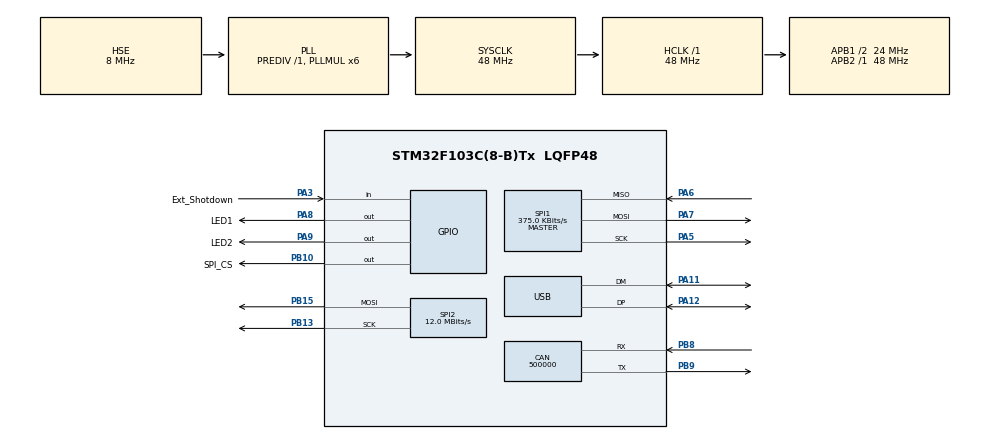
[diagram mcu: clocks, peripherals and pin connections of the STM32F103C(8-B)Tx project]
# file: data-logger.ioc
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CAN.CalculateBaudRate=500000
CAN.CalculateTimeBit=2000
CAN.CalculateTimeQuantum=666.6666666666666
Dma.Request0=SPI2_TX
Dma.SPI2_TX.0.Direction=DMA_MEMORY_TO_PERIPH
Dma.SPI2_TX.0.Instance=DMA1_Channel5
Dma.SPI2_TX.0.MemDataAlignment=DMA_MDATAALIGN_BYTE
Dma.SPI2_TX.0.MemInc=DMA_MINC_ENABLE
Dma.SPI2_TX.0.Mode=DMA_NORMAL
Dma.SPI2_TX.0.PeriphDataAlignment=DMA_PDATAALIGN_BYTE
Dma.SPI2_TX.0.PeriphInc=DMA_PINC_DISABLE
Dma.SPI2_TX.0.Priority=DMA_PRIORITY_LOW
FATFS._USE_LFN=1
Mcu.Family=STM32F1
Mcu.Name=STM32F103C(8-B)Tx
Mcu.Package=LQFP48
NVIC.CAN1_RX1_IRQn=true\:0\:0\:false\:false\:true\:true\:true\:true
NVIC.DMA1_Channel5_IRQn=true\:0\:0\:false\:false\:true\:false\:true\:true
NVIC.PriorityGroup=NVIC_PRIORITYGROUP_4
NVIC.SPI1_IRQn=true\:0\:0\:false\:false\:true\:true\:true\:true
NVIC.TIM1_UP_IRQn=true\:15\:0\:false\:false\:true\:false\:true\:true
NVIC.TimeBase=TIM1_UP_IRQn
NVIC.TimeBaseIP=TIM1
NVIC.USB_LP_CAN1_RX0_IRQn=true\:0\:0\:false\:false\:true\:true\:true\:true
PA11.Mode=Device
PA11.Signal=USB_DM
PA12.Mode=Device
PA12.Signal=USB_DP
PA13.Mode=Serial_Wire
PA13.Signal=SYS_JTMS-SWDIO
PA14.Mode=Serial_Wire
PA14.Signal=SYS_JTCK-SWCLK
PA3.GPIO_Label=Ext_Shotdown
PA3.Signal=GPIO_Input
PA5.Mode=Full_Duplex_Master
PA5.Signal=SPI1_SCK
PA6.Mode=Full_Duplex_Master
PA6.Signal=SPI1_MISO
PA7.Mode=Full_Duplex_Master
PA7.Signal=SPI1_MOSI
PA8.GPIO_Label=LED1
PA8.Signal=GPIO_Output
PA9.GPIO_Label=LED2
PA9.Signal=GPIO_Output
PB10.GPIO_Label=SPI_CS
PB10.PinState=GPIO_PIN_SET
PB10.Signal=GPIO_Output
PB13.Mode=TX_Only_Simplex_Unidirect_Master
PB13.Signal=SPI2_SCK
PB15.Mode=TX_Only_Simplex_Unidirect_Master
PB15.Signal=SPI2_MOSI
PB8.Mode=CAN_Activate
PB8.Signal=CAN_RX
PB9.Mode=CAN_Activate
PB9.Signal=CAN_TX
PC14-OSC32_IN.Signal=RCC_OSC32_IN
PC15-OSC32_OUT.Signal=RCC_OSC32_OUT
PD0-OSC_IN.Mode=HSE-External-Oscillator
PD0-OSC_IN.Signal=RCC_OSC_IN
PD1-OSC_OUT.Mode=HSE-External-Oscillator
PD1-OSC_OUT.Signal=RCC_OSC_OUT
ProjectManager.HeapSize=0x200
ProjectManager.StackSize=0x400
ProjectManager.TargetToolchain=CMake
RCC.AHBFreq_Value=48000000
RCC.APB1CLKDivider=RCC_HCLK_DIV2
RCC.APB1Freq_Value=24000000
RCC.APB1TimFreq_Value=48000000
RCC.APB2Freq_Value=48000000
RCC.APB2TimFreq_Value=48000000
RCC.HCLKFreq_Value=48000000
RCC.PLLMUL=RCC_PLL_MUL6
RCC.SYSCLKFreq_VALUE=48000000
RCC.SYSCLKSource=RCC_SYSCLKSOURCE_PLLCLK
RCC.USBFreq_Value=48000000
SPI1.BaudRatePrescaler=SPI_BAUDRATEPRESCALER_128
SPI1.CalculateBaudRate=375.0 KBits/s
SPI1.Direction=SPI_DIRECTION_2LINES
SPI1.Mode=SPI_MODE_MASTER
SPI1.VirtualType=VM_MASTER
SPI2.BaudRatePrescaler=SPI_BAUDRATEPRESCALER_2
SPI2.CLKPolarity=SPI_POLARITY_LOW
SPI2.CalculateBaudRate=12.0 MBits/s
SPI2.DataSize=SPI_DATASIZE_16BIT
SPI2.Direction=SPI_DIRECTION_2LINES
SPI2.Mode=SPI_MODE_MASTER
SPI2.VirtualType=VM_MASTER
VP_FATFS_VS_Generic.Mode=User_defined
VP_SYS_VS_tim1.Mode=TIM1
board=custom

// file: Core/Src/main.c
/* USER CODE BEGIN Header */
/**
  ******************************************************************************
  * @file           : main.c
  * @brief          : BlackBox Main Program
  ******************************************************************************
  */
/* USER CODE END Header */
#include "main.h"
#include "fatfs.h"

/* USER CODE BEGIN Includes */

#include "SEGGER_RTT.h"
#include "can_addr_def.h"
#include "can_log.h"

/* USER CODE END Includes */

/* USER CODE BEGIN PD */
#define LEDs 4
/* USER CODE END PD */

CAN_HandleTypeDef hcan;

SPI_HandleTypeDef hspi1;
SPI_HandleTypeDef hspi2;
DMA_HandleTypeDef hdma_spi2_tx;

PCD_HandleTypeDef hpcd_USB_FS;

/* USER CODE BEGIN PV */

// WS2812 SPI Signal Simulation
static const uint16_t WS2812_0 = 0xF800;
static const uint16_t WS2812_1 = 0xFC00;

static CAN_FilterTypeDef filterConfig = {
    .FilterActivation = ENABLE,
    .FilterBank = 0,
    .FilterFIFOAssignment = CAN_RX_FIFO0,
    .FilterIdHigh = CA_FAULT_SIGNAL << 5,
    .FilterIdLow = 0,
    .FilterMaskIdHigh = CA_DAQ_DATA << 5,
    .FilterMaskIdLow = 0,
    .FilterMode = CAN_FILTERMODE_IDLIST,
    .FilterScale = CAN_FILTERSCALE_16BIT,
};

/* USER CODE END PV */

void SystemClock_Config(void);
static void MX_GPIO_Init(void);
static void MX_DMA_Init(void);
static void MX_CAN_Init(void);
static void MX_SPI1_Init(void);
static void MX_USB_PCD_Init(void);
static void MX_SPI2_Init(void);
/* USER CODE BEGIN PFP */

void Update_WS2812_Effect(uint8_t mode);
uint32_t color[8] = {0x000000};

/* USER CODE END PFP */

/* USER CODE BEGIN 0 */

void Update_WS2812_Effect(uint8_t mode){
  static uint16_t ws_buf[24 * LEDs];

  switch (mode)
  {
  case 1:
    color[0] = 0x1F0000; // red
    color[1] = 0x001F00; // green
    color[2] = 0x00001F; // blue
    color[3] = 0x1F1F00; // r+g = yellow
    color[4] = 0x001F1F;
    color[5] = 0x1F001F;
    color[6] = 0x1F1F1F;
    color[7] = 0x000000;
    break;
  case 2:
    {
    uint32_t temp = color[0];
    for(int i = 0; i<7; i++){ color [i] = color[i+1];}
    color[7] = temp;
    }
    break;

  default:
    for(int i = 0; i<8; i++){
      color[i] = 0x0;
    }
    break;
  }

  for (int i = 0; i < LEDs; i++){
    uint32_t sent_color = color[i]; // sent different color
    for (int j = 0; j < 24; j++){
      ws_buf[i * 24 + j] = ((sent_color >> (23 - j)) & 0x01) ? WS2812_1 : WS2812_0;
    }
  }
  HAL_SPI_Transmit_DMA(&hspi2, (uint8_t*)ws_buf, 24*LEDs);

}

void HAL_CAN_RxFifo0MsgPendingCallback(CAN_HandleTypeDef *hcan) {
  CAN_RxHeaderTypeDef rx_header;
  uint8_t rx_data[8];

  if (HAL_CAN_GetRxMessage(hcan, CAN_RX_FIFO0, &rx_header, rx_data) ==
      HAL_OK) {
    CAN_Log_Update(rx_header.StdId, rx_data);
  }
}

/* USER CODE END 0 */

int main(void)
{

  /* MCU Configuration--------------------------------------------------------*/

  /* Reset of all peripherals, Initializes the Flash interface and the Systick. */
  HAL_Init();

  /* USER CODE BEGIN Init */

  SEGGER_RTT_Init();
  SEGGER_RTT_WriteString(0, "RTT Started!\n");
  /* USER CODE END Init */

  /* Configure the system clock */
  SystemClock_Config();

  /* USER CODE BEGIN SysInit */

  SEGGER_RTT_WriteString(0, "System Clock Config\n");
  /* USER CODE END SysInit */

  /* Initialize all configured peripherals */
  MX_GPIO_Init();
  MX_DMA_Init();
  MX_CAN_Init();
  MX_SPI1_Init();
  MX_USB_PCD_Init();
  MX_SPI2_Init();
  MX_FATFS_Init();
  /* USER CODE BEGIN 2 */

  HAL_CAN_ConfigFilter(&hcan, &filterConfig);
  HAL_CAN_Start(&hcan);
  HAL_CAN_ActivateNotification(&hcan, CAN_IT_RX_FIFO0_MSG_PENDING);

  HAL_GPIO_WritePin(LED2_GPIO_Port, LED2_Pin, GPIO_PIN_SET);
  SEGGER_RTT_printf(0, "LED2 ON\n");

  for(int i = 0; i < 8; i++) color[i] = 0;

  // 強制跑一次 mode 0 (把 ws_buf 填滿 WS2812_0 並發送)
  Update_WS2812_Effect(0);
  HAL_Delay(500); // 確保 DMA 傳完

  /* USER CODE END 2 */

  /* Infinite loop */
  /* USER CODE BEGIN WHILE */

  SEGGER_RTT_printf(0, "Counting...\n");
  // uint32_t a = 0;
  // Update_WS2812_Effect(1);
  while (1)
  {

    HAL_GPIO_TogglePin(LED1_GPIO_Port, LED1_Pin);

    // ----------------- WS2812 Begin -----------------
    // You could just ignore it, some issues not solved

    // if (HAL_GPIO_ReadPin(Ext_Shotdown_GPIO_Port, Ext_Shotdown_Pin)){
    //   // Update_WS2812_Effect(2);
    // }
    // else  {Update_WS2812_Effect(0);}
    // HAL_Delay(1000);
    // // SEGGER_RTT_printf(0, "count %d\n", a++);
    // SEGGER_RTT_printf(0, "RGB: ");
    // for(int i = 0; i < 4; i++){
    //     uint8_t r = (color[i] >> 16) & 0xFF;
    //     uint8_t g = (color[i] >> 8) & 0xFF;
    //     uint8_t b = color[i] & 0xFF;

    //     SEGGER_RTT_printf(0, " [%02X,%02X,%02X]", r, g, b);
    // }
    // SEGGER_RTT_printf(0, " \n");

    // ----------------- WS2812 Finish -----------------

    CAN_Log_PrintAll();
    HAL_Delay(1000);

    /* USER CODE END WHILE */

  }
}

void SystemClock_Config(void)
{
  RCC_OscInitTypeDef RCC_OscInitStruct = {0};
  RCC_ClkInitTypeDef RCC_ClkInitStruct = {0};
  RCC_PeriphCLKInitTypeDef PeriphClkInit = {0};

  /** Initializes the RCC Oscillators according to the specified parameters
  * in the RCC_OscInitTypeDef structure.
  */
  RCC_OscInitStruct.OscillatorType = RCC_OSCILLATORTYPE_HSE;
  RCC_OscInitStruct.HSEState = RCC_HSE_ON;
  RCC_OscInitStruct.HSEPredivValue = RCC_HSE_PREDIV_DIV1;
  RCC_OscInitStruct.HSIState = RCC_HSI_ON;
  RCC_OscInitStruct.PLL.PLLState = RCC_PLL_ON;
  RCC_OscInitStruct.PLL.PLLSource = RCC_PLLSOURCE_HSE;
  RCC_OscInitStruct.PLL.PLLMUL = RCC_PLL_MUL6;
  if (HAL_RCC_OscConfig(&RCC_OscInitStruct) != HAL_OK)
  {
    Error_Handler();
  }

  /** Initializes the CPU, AHB and APB buses clocks
  */
  RCC_ClkInitStruct.ClockType = RCC_CLOCKTYPE_HCLK|RCC_CLOCKTYPE_SYSCLK
                              |RCC_CLOCKTYPE_PCLK1|RCC_CLOCKTYPE_PCLK2;
  RCC_ClkInitStruct.SYSCLKSource = RCC_SYSCLKSOURCE_PLLCLK;
  RCC_ClkInitStruct.AHBCLKDivider = RCC_SYSCLK_DIV1;
  RCC_ClkInitStruct.APB1CLKDivider = RCC_HCLK_DIV2;
  RCC_ClkInitStruct.APB2CLKDivider = RCC_HCLK_DIV1;

  if (HAL_RCC_ClockConfig(&RCC_ClkInitStruct, FLASH_LATENCY_1) != HAL_OK)
  {
    Error_Handler();
  }
  PeriphClkInit.PeriphClockSelection = RCC_PERIPHCLK_USB;
  PeriphClkInit.UsbClockSelection = RCC_USBCLKSOURCE_PLL;
  if (HAL_RCCEx_PeriphCLKConfig(&PeriphClkInit) != HAL_OK)
  {
    Error_Handler();
  }
}

static void MX_CAN_Init(void)
{

  hcan.Instance = CAN1;
  hcan.Init.Prescaler = 16;
  hcan.Init.Mode = CAN_MODE_NORMAL;
  hcan.Init.SyncJumpWidth = CAN_SJW_1TQ;
  hcan.Init.TimeSeg1 = CAN_BS1_1TQ;
  hcan.Init.TimeSeg2 = CAN_BS2_1TQ;
  hcan.Init.TimeTriggeredMode = DISABLE;
  hcan.Init.AutoBusOff = DISABLE;
  hcan.Init.AutoWakeUp = DISABLE;
  hcan.Init.AutoRetransmission = DISABLE;
  hcan.Init.ReceiveFifoLocked = DISABLE;
  hcan.Init.TransmitFifoPriority = DISABLE;
  if (HAL_CAN_Init(&hcan) != HAL_OK)
  {
    Error_Handler();
  }

}

static void MX_SPI1_Init(void)
{

  /* SPI1 parameter configuration*/
  hspi1.Instance = SPI1;
  hspi1.Init.Mode = SPI_MODE_MASTER;
  hspi1.Init.Direction = SPI_DIRECTION_2LINES;
  hspi1.Init.DataSize = SPI_DATASIZE_8BIT;
  hspi1.Init.CLKPolarity = SPI_POLARITY_LOW;
  hspi1.Init.CLKPhase = SPI_PHASE_1EDGE;
  hspi1.Init.NSS = SPI_NSS_SOFT;
  hspi1.Init.BaudRatePrescaler = SPI_BAUDRATEPRESCALER_128;
  hspi1.Init.FirstBit = SPI_FIRSTBIT_MSB;
  hspi1.Init.TIMode = SPI_TIMODE_DISABLE;
  hspi1.Init.CRCCalculation = SPI_CRCCALCULATION_DISABLE;
  hspi1.Init.CRCPolynomial = 10;
  if (HAL_SPI_Init(&hspi1) != HAL_OK)
  {
    Error_Handler();
  }

}

static void MX_SPI2_Init(void)
{

  /* SPI2 parameter configuration*/
  hspi2.Instance = SPI2;
  hspi2.Init.Mode = SPI_MODE_MASTER;
  hspi2.Init.Direction = SPI_DIRECTION_2LINES;
  hspi2.Init.DataSize = SPI_DATASIZE_16BIT;
  hspi2.Init.CLKPolarity = SPI_POLARITY_LOW;
  hspi2.Init.CLKPhase = SPI_PHASE_1EDGE;
  hspi2.Init.NSS = SPI_NSS_SOFT;
  hspi2.Init.BaudRatePrescaler = SPI_BAUDRATEPRESCALER_2;
  hspi2.Init.FirstBit = SPI_FIRSTBIT_MSB;
  hspi2.Init.TIMode = SPI_TIMODE_DISABLE;
  hspi2.Init.CRCCalculation = SPI_CRCCALCULATION_DISABLE;
  hspi2.Init.CRCPolynomial = 10;
  if (HAL_SPI_Init(&hspi2) != HAL_OK)
  {
    Error_Handler();
  }

}

static void MX_USB_PCD_Init(void)
{

  hpcd_USB_FS.Instance = USB;
  hpcd_USB_FS.Init.dev_endpoints = 8;
  hpcd_USB_FS.Init.speed = PCD_SPEED_FULL;
  hpcd_USB_FS.Init.low_power_enable = DISABLE;
  hpcd_USB_FS.Init.lpm_enable = DISABLE;
  hpcd_USB_FS.Init.battery_charging_enable = DISABLE;
  if (HAL_PCD_Init(&hpcd_USB_FS) != HAL_OK)
  {
    Error_Handler();
  }

}

static void MX_DMA_Init(void)
{

  /* DMA controller clock enable */
  __HAL_RCC_DMA1_CLK_ENABLE();

  /* DMA interrupt init */
  /* DMA1_Channel5_IRQn interrupt configuration */
  HAL_NVIC_SetPriority(DMA1_Channel5_IRQn, 0, 0);
  HAL_NVIC_EnableIRQ(DMA1_Channel5_IRQn);

}

static void MX_GPIO_Init(void)
{
  GPIO_InitTypeDef GPIO_InitStruct = {0};

  /* GPIO Ports Clock Enable */
  __HAL_RCC_GPIOC_CLK_ENABLE();
  __HAL_RCC_GPIOD_CLK_ENABLE();
  __HAL_RCC_GPIOA_CLK_ENABLE();
  __HAL_RCC_GPIOB_CLK_ENABLE();

  /*Configure GPIO pin Output Level */
  HAL_GPIO_WritePin(SPI_CS_GPIO_Port, SPI_CS_Pin, GPIO_PIN_SET);

  /*Configure GPIO pin Output Level */
  HAL_GPIO_WritePin(GPIOA, LED1_Pin|LED2_Pin, GPIO_PIN_RESET);

  /*Configure GPIO pin : Ext_Shotdown_Pin */
  GPIO_InitStruct.Pin = Ext_Shotdown_Pin;
  GPIO_InitStruct.Mode = GPIO_MODE_INPUT;
  GPIO_InitStruct.Pull = GPIO_NOPULL;
  HAL_GPIO_Init(Ext_Shotdown_GPIO_Port, &GPIO_InitStruct);

  /*Configure GPIO pin : SPI_CS_Pin */
  GPIO_InitStruct.Pin = SPI_CS_Pin;
  GPIO_InitStruct.Mode = GPIO_MODE_OUTPUT_PP;
  GPIO_InitStruct.Pull = GPIO_NOPULL;
  GPIO_InitStruct.Speed = GPIO_SPEED_FREQ_LOW;
  HAL_GPIO_Init(SPI_CS_GPIO_Port, &GPIO_InitStruct);

  /*Configure GPIO pins : LED1_Pin LED2_Pin */
  GPIO_InitStruct.Pin = LED1_Pin|LED2_Pin;
  GPIO_InitStruct.Mode = GPIO_MODE_OUTPUT_PP;
  GPIO_InitStruct.Pull = GPIO_NOPULL;
  GPIO_InitStruct.Speed = GPIO_SPEED_FREQ_LOW;
  HAL_GPIO_Init(GPIOA, &GPIO_InitStruct);

}

void HAL_TIM_PeriodElapsedCallback(TIM_HandleTypeDef *htim)
{
  if (htim->Instance == TIM1) {
    HAL_IncTick();
  }
}

void Error_Handler(void)
{
  __disable_irq();
  while (1)
  {
  }
}
